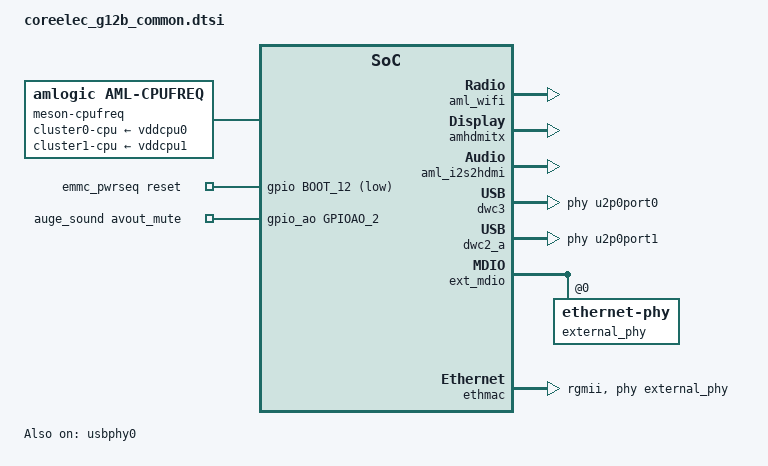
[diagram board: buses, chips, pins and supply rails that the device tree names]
#include "coreelec_common.dtsi"
#include "coreelec_g12b_cache.dtsi"

/ {
	compatible = "amlogic, g12b";

	/delete-node/ ir@ff808040;
	/delete-node/ optee;

	/delete-node/ cpufreq-meson;

	meson-cpufreq {
		compatible = "amlogic, aml-cpufreq";
		status = "okay";

		cluster0-cpu-supply = <&vddcpu0>;
		cluster1-cpu-supply = <&vddcpu1>;

		cluster0 {
			clocks = <&clkc CLKID_CPU_CLK>;
			clock-names = "cpuclk";
			voltage-tolerance = <0>;
			transition_delay_us = <10000>;
			cluster_cores = <0 1>;
		};

		cluster1 {
			clocks = <&clkc CLKID_CPUB_CLK>;
			clock-names = "cpuclk";
			voltage-tolerance = <0>;
			transition_delay_us = <10000>;
			cluster_cores = <2 3 4 5>;
		};
	};

	reserved-memory {
		galcore_reserved:linux,galcore {
			size = <0x0 0x1000000>;
		};
	};

	cpu_opp_table0: cpu_opp_table0 {
		opp08 {
			opp-hz = /bits/ 64 <1800000000>;
			opp-microvolt = <1020000>;
		};
	};

	cpu_opp_table1: cpu_opp_table1 {
		opp02 {
			opp-microvolt = <820000>;
		};
		opp03 {
			opp-microvolt = <820000>;
		};
		opp08 {
			opp-hz = /bits/ 64 <1800000000>;
			opp-microvolt = <830000>;
		};
		opp09 {
			opp-hz = /bits/ 64 <1908000000>;
			opp-microvolt = <860000>;
		};
		opp10 {
			opp-hz = /bits/ 64 <2016000000>;
			opp-microvolt = <910000>;
		};
		opp11 {
			opp-hz = /bits/ 64 <2100000000>;
			opp-microvolt = <960000>;
		};
		opp12 {
			opp-hz = /bits/ 64 <2208000000>;
			opp-microvolt = <1030000>;
		};
	};

	aml_wifi {
		status = "okay";
		/delete-property/ pwm_config;

		pwm_channel1_conf {
			pwms = <&pwm_ef MESON_PWM_0 30541 0>;
			duty-cycle = <15270>;
			times = <10>;
		};
		pwm_channel2_conf {
			pwms = <&pwm_ef MESON_PWM_2 30500 0>;
			duty-cycle = <15250>;
			times = <12>;
		};
	};

	amhdmitx: amhdmitx{
		status = "okay";
		hdmitx-gpios-hpd = <&gpio GPIOH_2 0>;
		hdmitx-gpios-scl = <&gpio GPIOH_1 0>;
		hdmitx-gpios-sda = <&gpio GPIOH_0 0>;
		vend_data: vend_data{ /* Should modified by Customer */
			product_desc = "G12B"; /* Max Chars: 16 */
		};
	};

	drm_vpu: drm-vpu@900000  {
		osd_ver = /bits/ 8 <OSD_V3>;
	};

	multi-di {
		compatible = "amlogic, dim-g12b";
	};

	bl30_manager {
		mboxes = <&mbox_pl G12B_REE2AO_DEV>;
	};

	meson-ir {
		reg = <0x0 0xff808040 0x00 0x44>, /*Multi-format IR controller*/
			<0x0 0xff808000 0x00 0x20>; /*Legacy IR controller*/
		interrupts = <GIC_SPI 196 IRQ_TYPE_EDGE_RISING>;
	};

	meson-remote {
		reg = <0x0 0xff808040 0x00 0x44>, /*Multi-format IR controller*/
			<0x0 0xff808000 0x00 0x20>; /*Legacy IR controller*/
		interrupts = <GIC_SPI 196 IRQ_TYPE_EDGE_RISING>;
	};

	gpu:bifrost {
		compatible = "arm,mali-bifrost";
	};

	emmc_pwrseq: emmc-pwrseq {
		compatible = "mmc-pwrseq-emmc";
		reset-gpios = <&gpio BOOT_12 GPIO_ACTIVE_LOW>;
	};

	/* the legacy usb2/usb3 v2 phy drivers are no longer registered */
	usbphy0: usbphy0@ffe09000 {
		compatible = "amlogic,uphy-sm1";
		#address-cells = <1>;
		#size-cells = <1>;
		status = "okay";

		u2p0port0: u2p@0 {
			#phy-cells = <0>;
			port-speed = <0x0>;
			reg = <0xffe09000 0x20
					0xffd01008 0x100
					0x0 0x0
					0xff636000 0x60>;
			reset-level = <0x84>;
			phy-reset-level-bits = <16>;
			usb-reset-bit = <2>;
			pll-settings = <0x09400414
							0x927E0000
							0xac5f69e5
							0xfe18
							0x8000fff
							0x78000
							0xe0004
							0xe000c>;
			version = <2>;
		};

		u2p0port1: u2p@20 {
			#phy-cells = <0>;
			port-speed = <0x0>;
			reg = <0xffe09020 0x20
					0xffd01008 0x100
					0x0 0x0
					0xff63a000 0x60
					0xffe09080 0x20>;
			reset-level = <0x84>;
			phy-reset-level-bits = <17>;
			usb-reset-bit = <2>;
			pll-settings = <0x09400414
							0x927E0000
							0xac5f69e5
							0xfe18
							0x8000fff
							0x78000
							0xe0004
							0xe000c>;
			version = <2>;
			gpio-vbus-power = "GPIOH_6";
			gpios = <&gpio GPIOH_6 GPIO_ACTIVE_HIGH>;
			phy-otg;
			otg-type = <0>;
			iddig-type = <1>;
			controller-type = <3>;
			interrupts = <GIC_SPI 16 IRQ_TYPE_LEVEL_HIGH>;
		};

		u3p0port0: u3p@80 {
			#phy-cells = <0>;
			port-speed = <0x3>;
			reg = <0xffe09080 0x20
					0xff646000 0x2000>;
			clocks = <&clkc CLKID_PCIE_PLL>;
			clock-names = "pcie_refpll";
		};
	};

	/delete-node/ auge_sound;
	auge_sound {
		compatible = "amlogic, auge-sound-card";
		aml-audio-card,name = "AML-AUGESOUND";

		/*avout mute gpio*/
		avout_mute-gpios = <&gpio_ao GPIOAO_2 GPIO_ACTIVE_HIGH>;

		aml-audio-card,dai-link@0 {
			mclk-fs = <128>;
			continuous-clock;
			cpu {
				system-clock-frequency = <6144000>;
				sound-dai = <&aml_spdif_b>;
			};
			codec {
				sound-dai = <&dummy_codec>;
			};
		};

		aml-audio-card,dai-link@1 {
			format = "i2s";
			mclk-fs = <256>;
			bitclock-master = <&aml_tdmb>;
			frame-master = <&aml_tdmb>;
			continuous-clock;
			cpu {
				dai-tdm-slot-tx-mask = <1 1>;
				dai-tdm-slot-rx-mask = <1 1>;
				dai-tdm-slot-num = <2>;
				dai-tdm-slot-width = <32>;
				system-clock-frequency = <12288000>;
				sound-dai = <&aml_tdmb>;
			};
			codec {
				sound-dai = <&amlogic_codec>;
			};
		};

		aml-audio-card,dai-link@2 {
			mclk-fs = <128>;
			continuous-clock;
			cpu {
				system-clock-frequency = <6144000>;
				sound-dai = <&aml_spdif>;
			};
			codec {
				sound-dai = <&dummy_codec>;
			};
		};

		aml-audio-card,dai-link@3 {
			format = "i2s";
			mclk-fs = <256>;
			bitclock-master = <&aml_i2s2hdmi>;
			frame-master = <&aml_i2s2hdmi>;
			continuous-clock;
			cpu {
				sound-dai = <&aml_i2s2hdmi>;
				dai-tdm-slot-tx-mask = <1 1>;
				dai-tdm-slot-rx-mask = <1 1>;
				dai-tdm-slot-num = <2>;
				dai-tdm-slot-width = <32>;
				system-clock-frequency = <12288000>;
			};
			codec {
				sound-dai = <&dummy_codec>;
			};
		};
	};

	gpio_keypad {
		key_num = <1>;
		key_name = "power";
		key_code = <116>;
	};

	soc {
		demux: demux {
			compatible = "amlogic, dmx";
			status = "disabled";

			interrupts = <GIC_SPI 23 IRQ_TYPE_EDGE_RISING
				GIC_SPI 5 IRQ_TYPE_EDGE_RISING
				GIC_SPI 21 IRQ_TYPE_EDGE_RISING
				GIC_SPI 19 IRQ_TYPE_EDGE_RISING
				GIC_SPI 25 IRQ_TYPE_EDGE_RISING>;
			interrupt-names = "demux0_irq",
				"demux1_irq",
				"demux2_irq",
				"dvr0_irq",
				"dvr1_irq";
		};
	};

	dvb-demux {
		compatible = "amlogic, dvb-demux";
		dev_name = "dvb-demux";
		status = "disabled";
		dmx =<&demux>;

		ts1 = "parallel";
		ts1_control = <0x00>;
		ts1_invert = <0x00>;
		pinctrl-names = "p_ts1";
		pinctrl-0 = <&dvb_p_ts1_pins>;
	};
};

&aocec {
	ee_cec; /*use cec a or b*/
	cec_sel = <1>;/*1:use one ip, 2:use 2 ip*/
	port_num = <4>;
};

&lcd {
	status = "disabled";
};

&vdin0 {
	status = "disabled";
};

&vdin1 {
	status = "disabled";
};

&pinctrl_periphs {
	/delete-node/ spdifin;

	dvb_p_ts1_pins: dvb_p_ts1_pins {
		tsin_b {
			groups = "tsin_b_sop_z",
			"tsin_b_valid_z",
			"tsin_b_clk_z",
			"tsin_b_din0_z",
			"tsin_b_din1",
			"tsin_b_din2",
			"tsin_b_din3",
			"tsin_b_din4",
			"tsin_b_din5",
			"tsin_b_din6",
			"tsin_b_din7";
			function = "tsin_b";
		};
	};
};

&audiobus {
	/delete-node/ tdm@1;
	/delete-node/ tdmc;
	/delete-node/ tdm@2;
	/delete-node/ spdif@0;
	/delete-node/ spdif@1;

	aml_i2s2hdmi: i2s2hdmi {
		compatible = "amlogic, g12a-snd-tdmc";
		clocks = <&clkaudio CLKID_AUDIO_MCLK_C
				 &clkc CLKID_MPLL2>;
		clock-names = "mclk", "clk_srcpll";
	};

	aml_tdmb: tdmb {
		suspend-clk-off = <0>;
	};

	aml_spdif: spdif {
		pinctrl-0 = <&spdifout>;
		suspend-clk-off = <0>;
	};

	aml_spdif_b: spdif_b {
		suspend-clk-off = <0>;
	};
};

&i2c0 {
	status = "disabled";
};

&i2c3 {
	/delete-node/ ad82584f_62@31;
	/delete-node/ tlv320adc3101_32@19;
};

&usb2_phy_v2 {
	status = "disabled";
};

&usb3_phy_v2 {
	status = "disabled";
};

&dwc3 {
	/delete-property/ usb-phy;
	phys = <&u2p0port0>, <&u2p0port1>, <&u3p0port0>;
	phy-names = "usb2-0", "usb2-1", "usb3-phy";
};

&dwc2_a {
	use-gphy;
	phys = <&u2p0port1>;
};

&ext_mdio {
	external_phy: ethernet-phy@0 {
		max-speed = <1000>;
	};
};

&ethmac {
	pinctrl-0 = <&external_eth_pins>;
	pinctrl-names = "default";
	status = "okay";
	phy-mode = "rgmii";
	phy-handle = <&external_phy>;
	internal_phy = <0>;
	amlogic,tx-delay-ns = <2>;
};

&sd_emmc_c {
	mmc-pwrseq = <&emmc_pwrseq>;
};

&sd_emmc_b {
	max-frequency = <50000000>;
	cap-mmc-highspeed;
	/delete-property/ sd-uhs-sdr12;
	/delete-property/ sd-uhs-sdr25;
	/delete-property/ sd-uhs-sdr50;
	/delete-property/ sd-uhs-sdr104;
};

&sd_emmc_a {
	/delete-property/ sd-uhs-sdr104;
};

&vddio_c {
	/delete-property/ gpio;
};
